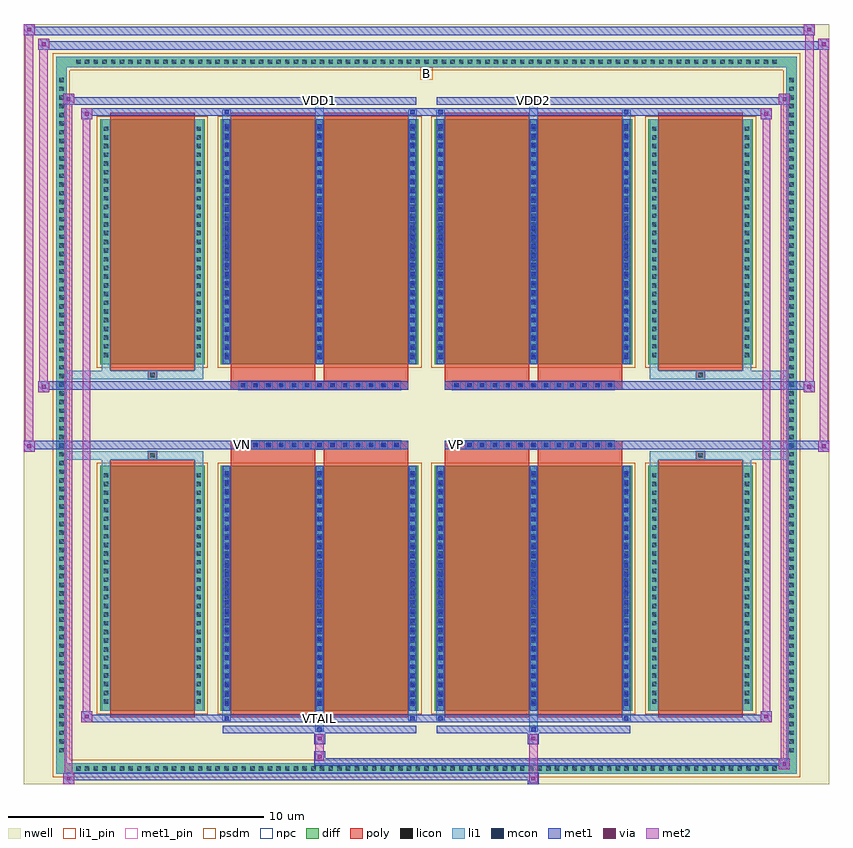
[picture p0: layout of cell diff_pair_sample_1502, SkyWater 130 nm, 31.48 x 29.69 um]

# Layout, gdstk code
import gdstk
lib = gdstk.Library(unit=1e-6, precision=5e-09)
def R(c, l, rs):  # rectangles x0, y0, x1, y1
    for r in rs: c.add(gdstk.rectangle(r[:2], r[2:], *l))
def A(c, l, x, y, w, h, nx, ny, dx, dy):  # array of equal rectangles
    R(c, l, [(x+i*dx, y+j*dy, x+i*dx+w, y+j*dy+h) for i in range(nx) for j in range(ny)])
def P(c, l, *ps):  # polygons
    for p in ps: c.add(gdstk.Polygon(p, *l))
nwell = (64, 20)
diff = (65, 20)
poly = (66, 20)
licon = (66, 44)
li1_pin = (67, 16)
li1 = (67, 20)
mcon = (67, 44)
met1_pin = (68, 16)
met1 = (68, 20)
via = (68, 44)
met2 = (69, 20)
psdm = (94, 20)
npc = (95, 20)

diff_pair_sample_1502 = lib.new_cell('diff_pair_sample_1502')
R(diff_pair_sample_1502, nwell, [(-15.74,-14.41,15.74,15.28), (-13.06,-12.6,-0.01,-0.8), (0.01,-12.6,13.06,-0.8), (-13.06,0.8,-0.01,12.6), (0.01,0.8,13.06,12.6)])
A(diff_pair_sample_1502, diff, -13.805, -14.01, 0.41, 0.41, 81, 2, 0.34, 27.61)
A(diff_pair_sample_1502, diff, -14.47, -13.295, 0.41, 0.41, 1, 78, 0, 0.34)
A(diff_pair_sample_1502, diff, 14.06, -13.295, 0.41, 0.41, 1, 78, 0, 0.34)
R(diff_pair_sample_1502, diff, [(-13.805,-14.01,13.805,-13.6), (-14.47,-13.295,-14.06,13.295), (14.06,-13.295,14.47,13.295), (-12.75,-11.555,-8.67,-1.985), (-8.03,-11.555,-0.32,-1.985), (0.32,-11.555,8.03,-1.985), (8.67,-11.555,12.75,-1.985), (-12.75,1.985,-8.67,11.555), (-8.03,1.985,-0.32,11.555), (0.32,1.985,8.03,11.555), (8.67,1.985,12.75,11.555), (-13.805,13.6,13.805,14.01)])
P(diff_pair_sample_1502, diff, [(14.47,14.01),(-14.47,14.01),(-14.47,-13.6),(-14.06,-13.6),(-14.06,13.6),(14.06,13.6),(14.06,-13.6),(-14.06,-13.6),(-14.47,-13.6),(-14.47,-14.01),(14.47,-14.01)])
A(diff_pair_sample_1502, poly, -7.34, -1.33, 0.33, 0.33, 13, 2, 0.5, 2.33)
A(diff_pair_sample_1502, poly, 1.01, -1.33, 0.33, 0.33, 13, 2, 0.5, 2.33)
R(diff_pair_sample_1502, poly, [(-12.36,-11.805,-9.06,-1.735), (-7.64,-11.805,-4.34,-1.735), (-4.01,-11.805,-0.71,-1.735), (0.71,-11.805,4.01,-1.735), (4.34,-11.805,7.64,-1.735), (9.06,-11.805,12.36,-1.735), (-10.875,-1.735,-10.545,-1.405), (-10.875,-1.735,-10.545,-1.405), (-7.64,-1.735,-4.34,-1.33), (-4.01,-1.735,-0.71,-1.33), (0.71,-1.735,4.01,-1.33), (4.34,-1.735,7.64,-1.33), (10.545,-1.735,10.875,-1.405), (10.545,-1.735,10.875,-1.405), (-7.64,-1.33,-0.71,-1), (0.71,-1.33,7.64,-1), (-7.64,1,-0.71,1.33), (0.71,1,7.64,1.33), (-7.64,1.33,-4.34,1.735), (-4.01,1.33,-0.71,1.735), (0.71,1.33,4.01,1.735), (4.34,1.33,7.64,1.735), (-10.875,1.405,-10.545,1.735), (-10.875,1.405,-10.545,1.735), (10.545,1.405,10.875,1.735), (10.545,1.405,10.875,1.735), (-12.36,1.735,-9.06,11.805), (-7.64,1.735,-4.34,11.805), (-4.01,1.735,-0.71,11.805), (0.71,1.735,4.01,11.805), (4.34,1.735,7.64,11.805), (9.06,1.735,12.36,11.805)])
A(diff_pair_sample_1502, licon, -13.685, -13.89, 0.17, 0.17, 81, 2, 0.34, 27.61)
A(diff_pair_sample_1502, licon, -14.35, -13.175, 0.17, 0.17, 1, 78, 0, 0.34)
A(diff_pair_sample_1502, licon, 14.18, -13.175, 0.17, 0.17, 1, 78, 0, 0.34)
A(diff_pair_sample_1502, licon, -12.61, -11.275, 0.17, 0.17, 1, 27, 0, 0.34)
A(diff_pair_sample_1502, licon, -8.98, -11.275, 0.17, 0.17, 1, 27, 0, 0.34)
A(diff_pair_sample_1502, licon, -7.89, -11.275, 0.17, 0.17, 3, 27, 3.63, 0.34)
A(diff_pair_sample_1502, licon, 0.46, -11.275, 0.17, 0.17, 3, 27, 3.63, 0.34)
A(diff_pair_sample_1502, licon, 8.81, -11.275, 0.17, 0.17, 1, 27, 0, 0.34)
A(diff_pair_sample_1502, licon, 12.44, -11.275, 0.17, 0.17, 1, 27, 0, 0.34)
A(diff_pair_sample_1502, licon, -7.26, -1.25, 0.17, 0.17, 13, 2, 0.5, 2.33)
A(diff_pair_sample_1502, licon, 1.09, -1.25, 0.17, 0.17, 13, 2, 0.5, 2.33)
A(diff_pair_sample_1502, licon, -12.61, 2.265, 0.17, 0.17, 1, 27, 0, 0.34)
A(diff_pair_sample_1502, licon, -8.98, 2.265, 0.17, 0.17, 1, 27, 0, 0.34)
A(diff_pair_sample_1502, licon, -7.89, 2.265, 0.17, 0.17, 3, 27, 3.63, 0.34)
A(diff_pair_sample_1502, licon, 0.46, 2.265, 0.17, 0.17, 3, 27, 3.63, 0.34)
A(diff_pair_sample_1502, licon, 8.81, 2.265, 0.17, 0.17, 1, 27, 0, 0.34)
A(diff_pair_sample_1502, licon, 12.44, 2.265, 0.17, 0.17, 1, 27, 0, 0.34)
R(diff_pair_sample_1502, licon, [(-10.795,-1.655,-10.625,-1.485), (10.625,-1.655,10.795,-1.485), (-10.795,1.485,-10.625,1.655), (10.625,1.485,10.795,1.655)])
R(diff_pair_sample_1502, li1_pin, [(-0.25,13.1,0.25,13.6)])
A(diff_pair_sample_1502, li1, -13.765, -13.97, 0.33, 0.33, 81, 2, 0.34, 27.61)
A(diff_pair_sample_1502, li1, -14.43, -13.255, 0.33, 0.33, 1, 78, 0, 0.34)
A(diff_pair_sample_1502, li1, 14.1, -13.255, 0.33, 0.33, 1, 78, 0, 0.34)
A(diff_pair_sample_1502, li1, -7.97, -11.555, 0.33, 9.57, 3, 2, 3.63, 13.54)
A(diff_pair_sample_1502, li1, 0.38, -11.555, 0.33, 9.57, 3, 2, 3.63, 13.54)
A(diff_pair_sample_1502, li1, -12.69, -11.355, 0.33, 0.33, 1, 27, 0, 0.34)
A(diff_pair_sample_1502, li1, -9.06, -11.355, 0.33, 0.33, 1, 27, 0, 0.34)
A(diff_pair_sample_1502, li1, -7.97, -11.355, 0.33, 0.33, 3, 27, 3.63, 0.34)
A(diff_pair_sample_1502, li1, -7.89, -11.355, 0.17, 0.17, 3, 26, 3.63, 0.36)
A(diff_pair_sample_1502, li1, -7.89, -11.355, 0.17, 9.17, 3, 2, 3.63, 13.54)
A(diff_pair_sample_1502, li1, 0.38, -11.355, 0.33, 0.33, 3, 27, 3.63, 0.34)
A(diff_pair_sample_1502, li1, 0.46, -11.355, 0.17, 0.17, 3, 26, 3.63, 0.36)
A(diff_pair_sample_1502, li1, 0.46, -11.355, 0.17, 9.17, 3, 2, 3.63, 13.54)
A(diff_pair_sample_1502, li1, 8.73, -11.355, 0.33, 0.33, 1, 27, 0, 0.34)
A(diff_pair_sample_1502, li1, 12.36, -11.355, 0.33, 0.33, 1, 27, 0, 0.34)
A(diff_pair_sample_1502, li1, -7.34, -1.33, 0.33, 0.33, 13, 2, 0.5, 2.33)
A(diff_pair_sample_1502, li1, 1.01, -1.33, 0.33, 0.33, 13, 2, 0.5, 2.33)
A(diff_pair_sample_1502, li1, -12.69, 2.185, 0.33, 0.33, 1, 27, 0, 0.34)
A(diff_pair_sample_1502, li1, -9.06, 2.185, 0.33, 0.33, 1, 27, 0, 0.34)
A(diff_pair_sample_1502, li1, -7.97, 2.185, 0.33, 0.33, 3, 27, 3.63, 0.34)
A(diff_pair_sample_1502, li1, -7.89, 2.185, 0.17, 0.17, 3, 26, 3.63, 0.36)
A(diff_pair_sample_1502, li1, 0.38, 2.185, 0.33, 0.33, 3, 27, 3.63, 0.34)
A(diff_pair_sample_1502, li1, 0.46, 2.185, 0.17, 0.17, 3, 26, 3.63, 0.36)
A(diff_pair_sample_1502, li1, 8.73, 2.185, 0.33, 0.33, 1, 27, 0, 0.34)
A(diff_pair_sample_1502, li1, 12.36, 2.185, 0.33, 0.33, 1, 27, 0, 0.34)
R(diff_pair_sample_1502, li1, [(-14.47,-14.01,-14.06,-13.6), (-14.47,-14.01,-14.06,-13.6), (-14.06,-14.01,14.06,-13.6), (14.06,-14.01,14.47,-13.6), (14.06,-14.01,14.47,-13.6), (-14.47,-13.6,-14.06,13.6), (14.06,-13.6,14.47,13.6), (-4.34,-12.36,-4.01,-11.555), (-4.26,-12.36,-4.09,-12.19), (4.01,-12.36,4.34,-11.555), (4.09,-12.36,4.26,-12.19), (-7.97,-11.93,-7.64,-11.555), (-7.89,-11.93,-7.72,-11.76), (-0.71,-11.93,-0.38,-11.555), (-0.63,-11.93,-0.46,-11.76), (0.38,-11.93,0.71,-11.555), (0.46,-11.93,0.63,-11.76), (7.64,-11.93,7.97,-11.555), (7.72,-11.93,7.89,-11.76), (-12.69,-11.555,-12.36,-1.985), (-9.06,-11.555,-8.73,-1.985), (8.73,-11.555,9.06,-1.985), (12.36,-11.555,12.69,-1.985), (-12.69,-1.985,-12.36,-1.405), (-9.06,-1.985,-8.73,-1.405), (8.73,-1.985,9.06,-1.405), (12.36,-1.985,12.69,-1.405), (-14.47,-1.735,-10.875,-1.405), (-12.69,-1.735,-10.875,-1.405), (-10.875,-1.735,-10.545,-1.405), (-10.545,-1.735,-8.73,-1.405), (8.73,-1.735,10.545,-1.405), (10.545,-1.735,10.875,-1.405), (10.545,-1.735,14.47,-1.405), (10.875,-1.735,12.69,-1.405), (-14.47,1.405,-10.875,1.735), (-12.69,1.405,-10.875,1.735), (-12.69,1.405,-12.36,1.985), (-10.875,1.405,-10.545,1.735), (-10.545,1.405,-8.73,1.735), (-9.06,1.405,-8.73,1.985), (8.73,1.405,10.545,1.735), (8.73,1.405,9.06,1.985), (10.545,1.405,10.875,1.735), (10.545,1.405,14.47,1.735), (10.875,1.405,12.69,1.735), (12.36,1.405,12.69,1.985), (-12.69,1.985,-12.36,11.555), (-9.06,1.985,-8.73,11.555), (8.73,1.985,9.06,11.555), (12.36,1.985,12.69,11.555), (-7.97,11.555,-7.64,11.93), (-4.34,11.555,-4.01,12.36), (-0.71,11.555,-0.38,11.93), (0.38,11.555,0.71,11.93), (4.01,11.555,4.34,12.36), (7.64,11.555,7.97,11.93), (-7.89,11.76,-7.72,11.93), (-0.63,11.76,-0.46,11.93), (0.46,11.76,0.63,11.93), (7.72,11.76,7.89,11.93), (-4.26,12.19,-4.09,12.36), (4.09,12.19,4.26,12.36), (-14.47,13.6,-14.06,14.01), (-14.47,13.6,-14.06,14.01), (-14.06,13.6,14.06,14.01), (14.06,13.6,14.47,14.01), (14.06,13.6,14.47,14.01)])
A(diff_pair_sample_1502, mcon, -7.89, -11.355, 0.17, 0.17, 3, 26, 3.63, 0.36)
A(diff_pair_sample_1502, mcon, 0.46, -11.355, 0.17, 0.17, 3, 26, 3.63, 0.36)
A(diff_pair_sample_1502, mcon, -7.26, -1.25, 0.17, 0.17, 13, 2, 0.5, 2.33)
A(diff_pair_sample_1502, mcon, 1.09, -1.25, 0.17, 0.17, 13, 2, 0.5, 2.33)
A(diff_pair_sample_1502, mcon, -7.89, 2.185, 0.17, 0.17, 3, 26, 3.63, 0.36)
A(diff_pair_sample_1502, mcon, 0.46, 2.185, 0.17, 0.17, 3, 26, 3.63, 0.36)
R(diff_pair_sample_1502, mcon, [(-4.26,-12.36,-4.09,-12.19), (4.09,-12.36,4.26,-12.19), (-7.89,-11.93,-7.72,-11.76), (-0.63,-11.93,-0.46,-11.76), (0.46,-11.93,0.63,-11.76), (7.72,-11.93,7.89,-11.76), (-7.89,11.76,-7.72,11.93), (-0.63,11.76,-0.46,11.93), (0.46,11.76,0.63,11.93), (7.72,11.76,7.89,11.93), (-4.26,12.19,-4.09,12.36), (4.09,12.19,4.26,12.36)])
R(diff_pair_sample_1502, met1_pin, [(-4.31,-11.97,-4.04,-11.7), (-7.31,-1.29,-7.04,-1.02), (1.04,-1.29,1.31,-1.02), (-4.31,12.15,-4.04,12.42), (4.04,12.15,4.31,12.42)])
A(diff_pair_sample_1502, met1, -7.95, -11.555, 0.29, 9.57, 3, 2, 3.63, 13.54)
A(diff_pair_sample_1502, met1, 0.4, -11.555, 0.29, 9.57, 3, 2, 3.63, 13.54)
A(diff_pair_sample_1502, met1, -7.95, -11.415, 0.29, 0.29, 3, 26, 3.63, 0.36)
A(diff_pair_sample_1502, met1, 0.4, -11.415, 0.29, 0.29, 3, 26, 3.63, 0.36)
A(diff_pair_sample_1502, met1, -7.32, -1.31, 0.29, 0.29, 13, 2, 0.5, 2.33)
A(diff_pair_sample_1502, met1, 1.03, -1.31, 0.29, 0.29, 13, 2, 0.5, 2.33)
A(diff_pair_sample_1502, met1, -7.95, 2.125, 0.29, 0.29, 3, 26, 3.63, 0.36)
A(diff_pair_sample_1502, met1, 0.4, 2.125, 0.29, 0.29, 3, 26, 3.63, 0.36)
R(diff_pair_sample_1502, met1, [(-14.2,-14.41,-13.77,-13.98), (3.96,-14.41,4.39,-13.98), (-14.2,-14.27,4.39,-13.98), (13.77,-13.84,14.2,-13.41), (-4.39,-13.7,14.2,-13.41), (-4.39,-13.56,-3.96,-13.13), (-4.39,-12.85,-3.96,-12.42), (3.96,-12.85,4.39,-12.42), (-7.95,-12.42,-0.4,-12.13), (-4.32,-12.42,-4.03,-12.13), (0.4,-12.42,7.95,-12.13), (4.03,-12.42,4.32,-12.13), (-13.49,-11.99,-13.06,-11.56), (-13.49,-11.99,-7.95,-11.7), (-7.95,-11.99,-7.66,-11.7), (-7.95,-11.99,-0.4,-11.7), (-0.69,-11.99,-0.4,-11.7), (-0.4,-11.99,0.4,-11.7), (0.4,-11.99,0.69,-11.7), (0.4,-11.99,7.95,-11.7), (7.66,-11.99,7.95,-11.7), (7.95,-11.99,13.49,-11.7), (13.06,-11.99,13.49,-11.56), (-15.74,-1.43,-15.31,-1), (15.31,-1.43,15.74,-1), (-15.74,-1.33,-0.71,-1), (-7.64,-1.33,-0.71,-1), (0.71,-1.33,7.64,-1), (0.71,-1.33,15.74,-1), (-15.17,0.9,-14.74,1.33), (14.74,0.9,15.17,1.33), (-15.17,1,-7.64,1.33), (-7.64,1,-0.71,1.33), (0.71,1,7.64,1.33), (7.64,1,15.17,1.33), (-13.49,11.56,-13.06,11.99), (13.06,11.56,13.49,11.99), (-13.49,11.7,-7.95,11.99), (-7.95,11.7,-7.66,11.99), (-7.95,11.7,-0.4,11.99), (-0.69,11.7,-0.4,11.99), (-0.4,11.7,0.4,11.99), (0.4,11.7,0.69,11.99), (0.4,11.7,7.95,11.99), (7.66,11.7,7.95,11.99), (7.95,11.7,13.49,11.99), (-14.2,12.13,-13.77,12.56), (-14.2,12.13,-7.95,12.42), (-7.95,12.13,-0.4,12.42), (-4.32,12.13,-4.03,12.42), (0.4,12.13,7.95,12.42), (4.03,12.13,4.32,12.42), (7.95,12.13,14.2,12.42), (13.77,12.13,14.2,12.56), (-15.17,14.28,-14.74,14.71), (-15.17,14.28,-13.06,14.61), (-13.06,14.28,13.06,14.61), (13.06,14.28,15.74,14.61), (15.31,14.28,15.74,14.71), (-15.74,14.85,-15.31,15.28), (-15.74,14.85,-13.06,15.18), (-13.06,14.85,13.06,15.18), (13.06,14.85,15.17,15.18), (14.74,14.85,15.17,15.28)])
R(diff_pair_sample_1502, via, [(-14.06,-14.27,-13.91,-14.12), (4.1,-14.27,4.25,-14.12), (13.91,-13.7,14.06,-13.55), (-4.25,-13.42,-4.1,-13.27), (-4.25,-12.71,-4.1,-12.56), (4.1,-12.71,4.25,-12.56), (-13.35,-11.85,-13.2,-11.7), (13.2,-11.85,13.35,-11.7), (-15.6,-1.29,-15.45,-1.14), (15.45,-1.29,15.6,-1.14), (-15.03,1.04,-14.88,1.19), (14.88,1.04,15.03,1.19), (-13.35,11.7,-13.2,11.85), (13.2,11.7,13.35,11.85), (-14.06,12.27,-13.91,12.42), (13.91,12.27,14.06,12.42), (-15.03,14.42,-14.88,14.57), (15.45,14.42,15.6,14.57), (-15.6,14.99,-15.45,15.14), (14.88,14.99,15.03,15.14)])
R(diff_pair_sample_1502, met2, [(-14.2,-14.41,-13.77,-13.98), (-14.13,-14.41,-13.84,12.56), (-13.84,-14.41,-13.77,-13.98), (-14.15,-14.36,-13.82,-14.03), (4.01,-14.36,4.34,-14.03), (4.01,-14.03,4.34,-12.8), (13.77,-13.84,14.2,-13.41), (13.84,-13.84,14.13,12.56), (14.13,-13.84,14.2,-13.41), (13.82,-13.79,14.15,-13.46), (-4.34,-13.51,-4.01,-13.18), (-4.34,-13.18,-4.01,-12.8), (-4.34,-12.8,-4.01,-12.47), (4.01,-12.8,4.34,-12.47), (-13.49,-11.99,-13.06,-11.56), (-13.42,-11.99,-13.13,11.99), (-13.13,-11.99,-13.06,-11.56), (13.06,-11.99,13.49,-11.56), (13.13,-11.99,13.42,11.99), (13.42,-11.99,13.49,-11.56), (-13.44,-11.94,-13.11,-11.61), (13.11,-11.94,13.44,-11.61), (-15.74,-1.43,-15.31,-1), (-15.69,-1.43,-15.36,15.28), (-15.36,-1.43,-15.31,-1), (15.31,-1.43,15.74,-1), (15.36,-1.43,15.69,14.71), (15.69,-1.43,15.74,-1), (-15.69,-1.38,-15.36,-1.05), (15.36,-1.38,15.69,-1.05), (-15.17,0.9,-14.74,1.33), (-15.12,0.9,-14.79,14.71), (-14.79,0.9,-14.74,1.33), (14.74,0.9,15.17,1.33), (14.79,0.9,15.12,15.28), (15.12,0.9,15.17,1.33), (-15.12,0.95,-14.79,1.28), (14.79,0.95,15.12,1.28), (-13.49,11.56,-13.06,11.99), (-13.13,11.56,-13.06,11.99), (13.06,11.56,13.49,11.99), (13.42,11.56,13.49,11.99), (-13.44,11.61,-13.11,11.94), (13.11,11.61,13.44,11.94), (-14.2,12.13,-13.77,12.56), (-13.84,12.13,-13.77,12.56), (13.77,12.13,14.2,12.56), (14.13,12.13,14.2,12.56), (-14.15,12.18,-13.82,12.51), (13.82,12.18,14.15,12.51), (-15.17,14.28,-14.74,14.71), (-14.79,14.28,-14.74,14.71), (15.31,14.28,15.74,14.71), (15.69,14.28,15.74,14.71), (-15.12,14.33,-14.79,14.66), (15.36,14.33,15.69,14.66), (-15.74,14.85,-15.31,15.28), (-15.36,14.85,-15.31,15.28), (14.74,14.85,15.17,15.28), (15.12,14.85,15.17,15.28), (-15.69,14.9,-15.36,15.23), (14.79,14.9,15.12,15.23)])
R(diff_pair_sample_1502, psdm, [(-12.88,-11.685,-8.54,-1.855), (-8.16,-11.685,-0.19,-1.855), (0.19,-11.685,8.16,-1.855), (8.54,-11.685,12.88,-1.855), (-12.88,1.855,-8.54,11.685), (-8.16,1.855,-0.19,11.685), (0.19,1.855,8.16,11.685), (8.54,1.855,12.88,11.685)])
P(diff_pair_sample_1502, psdm, [(14.6,14.14),(-14.6,14.14),(-14.6,-13.47),(-13.93,-13.47),(-13.93,13.47),(13.93,13.47),(13.93,-13.47),(-13.93,-13.47),(-14.6,-13.47),(-14.6,-14.14),(14.6,-14.14)])
A(diff_pair_sample_1502, npc, -7.36, -1.35, 0.37, 0.37, 13, 2, 0.5, 2.33)
A(diff_pair_sample_1502, npc, 0.99, -1.35, 0.37, 0.37, 13, 2, 0.5, 2.33)
R(diff_pair_sample_1502, npc, [(-10.895,-1.755,-10.525,-1.385), (10.525,-1.755,10.895,-1.385), (-7.36,-1.35,-6.49,-0.98), (-7.36,-1.35,-6.49,-0.98), (-6.86,-1.35,-5.99,-0.98), (-6.86,-1.35,-5.99,-0.98), (-6.36,-1.35,-5.49,-0.98), (-6.36,-1.35,-5.49,-0.98), (-5.86,-1.35,-4.99,-0.98), (-5.86,-1.35,-4.99,-0.98), (-5.36,-1.35,-4.49,-0.98), (-5.36,-1.35,-4.49,-0.98), (-4.86,-1.35,-3.99,-0.98), (-4.86,-1.35,-3.99,-0.98), (-4.36,-1.35,-3.49,-0.98), (-4.36,-1.35,-3.49,-0.98), (-3.86,-1.35,-2.99,-0.98), (-3.86,-1.35,-2.99,-0.98), (-3.36,-1.35,-2.49,-0.98), (-3.36,-1.35,-2.49,-0.98), (-2.86,-1.35,-1.99,-0.98), (-2.86,-1.35,-1.99,-0.98), (-2.36,-1.35,-1.49,-0.98), (-2.36,-1.35,-1.49,-0.98), (-1.86,-1.35,-0.99,-0.98), (-1.86,-1.35,-0.99,-0.98), (0.99,-1.35,1.86,-0.98), (0.99,-1.35,1.86,-0.98), (1.49,-1.35,2.36,-0.98), (1.49,-1.35,2.36,-0.98), (1.99,-1.35,2.86,-0.98), (1.99,-1.35,2.86,-0.98), (2.49,-1.35,3.36,-0.98), (2.49,-1.35,3.36,-0.98), (2.99,-1.35,3.86,-0.98), (2.99,-1.35,3.86,-0.98), (3.49,-1.35,4.36,-0.98), (3.49,-1.35,4.36,-0.98), (3.99,-1.35,4.86,-0.98), (3.99,-1.35,4.86,-0.98), (4.49,-1.35,5.36,-0.98), (4.49,-1.35,5.36,-0.98), (4.99,-1.35,5.86,-0.98), (4.99,-1.35,5.86,-0.98), (5.49,-1.35,6.36,-0.98), (5.49,-1.35,6.36,-0.98), (5.99,-1.35,6.86,-0.98), (5.99,-1.35,6.86,-0.98), (6.49,-1.35,7.36,-0.98), (6.49,-1.35,7.36,-0.98), (-7.36,0.98,-6.49,1.35), (-7.36,0.98,-6.49,1.35), (-6.86,0.98,-5.99,1.35), (-6.86,0.98,-5.99,1.35), (-6.36,0.98,-5.49,1.35), (-6.36,0.98,-5.49,1.35), (-5.86,0.98,-4.99,1.35), (-5.86,0.98,-4.99,1.35), (-5.36,0.98,-4.49,1.35), (-5.36,0.98,-4.49,1.35), (-4.86,0.98,-3.99,1.35), (-4.86,0.98,-3.99,1.35), (-4.36,0.98,-3.49,1.35), (-4.36,0.98,-3.49,1.35), (-3.86,0.98,-2.99,1.35), (-3.86,0.98,-2.99,1.35), (-3.36,0.98,-2.49,1.35), (-3.36,0.98,-2.49,1.35), (-2.86,0.98,-1.99,1.35), (-2.86,0.98,-1.99,1.35), (-2.36,0.98,-1.49,1.35), (-2.36,0.98,-1.49,1.35), (-1.86,0.98,-0.99,1.35), (-1.86,0.98,-0.99,1.35), (0.99,0.98,1.86,1.35), (0.99,0.98,1.86,1.35), (1.49,0.98,2.36,1.35), (1.49,0.98,2.36,1.35), (1.99,0.98,2.86,1.35), (1.99,0.98,2.86,1.35), (2.49,0.98,3.36,1.35), (2.49,0.98,3.36,1.35), (2.99,0.98,3.86,1.35), (2.99,0.98,3.86,1.35), (3.49,0.98,4.36,1.35), (3.49,0.98,4.36,1.35), (3.99,0.98,4.86,1.35), (3.99,0.98,4.86,1.35), (4.49,0.98,5.36,1.35), (4.49,0.98,5.36,1.35), (4.99,0.98,5.86,1.35), (4.99,0.98,5.86,1.35), (5.49,0.98,6.36,1.35), (5.49,0.98,6.36,1.35), (5.99,0.98,6.86,1.35), (5.99,0.98,6.86,1.35), (6.49,0.98,7.36,1.35), (6.49,0.98,7.36,1.35), (-10.895,1.385,-10.525,1.755), (10.525,1.385,10.895,1.755)])
diff_pair_sample_1502.add(gdstk.Label('VTAIL', (-4.175,-11.835), layer=68, texttype=5))
diff_pair_sample_1502.add(gdstk.Label('VN', (-7.175,-1.155), layer=68, texttype=5))
diff_pair_sample_1502.add(gdstk.Label('VP', (1.175,-1.155), layer=68, texttype=5))
diff_pair_sample_1502.add(gdstk.Label('B', (0,13.35), layer=67, texttype=5))
diff_pair_sample_1502.add(gdstk.Label('VDD2', (4.175,12.285), layer=68, texttype=5))
diff_pair_sample_1502.add(gdstk.Label('VDD1', (-4.175,12.285), layer=68, texttype=5))

lib.write_gds('diff_pair_sample_1502.gds')
